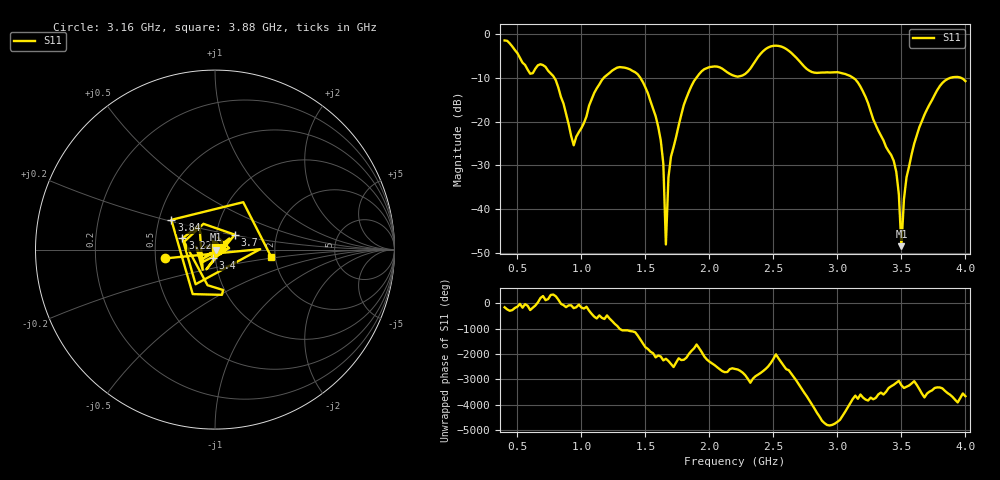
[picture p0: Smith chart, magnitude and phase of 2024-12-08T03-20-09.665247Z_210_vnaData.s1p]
!Created with skrf (http://scikit-rf.org).
# Hz S RI R 50.0
!freq ReS11 ImS11
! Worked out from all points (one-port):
!   181 points, 400 MHz to 4 GHz, reference 50 ohm
!   lowest |S11| = -48.5 dB at 3.5 GHz (marker M1), VSWR 1.01, Z = 50.4 + j0.0346 ohm
!   |S11| at or under -10 dB: 789.2 MHz to 1.174 GHz (384.6 MHz wide, 39.2 % of centre); 1.461 GHz to 1.897 GHz (435.9 MHz wide, 26 % of centre); 3.125 GHz to 3.879 GHz (753.9 MHz wide, 21.5 % of centre) (the widest 3 of 4)
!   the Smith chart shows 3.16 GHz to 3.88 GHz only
!   S11 on the Smith chart (normalised r, x): 3.16 GHz: 0.56, -0.06; 3.22 GHz: 0.69, +0.09; 3.4 GHz: 0.97, -0.09; 3.7 GHz: 1.23, +0.21; 3.84 GHz: 0.58, +0.21; 3.88 GHz: 1.90, -0.18
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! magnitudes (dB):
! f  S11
! 400 MHz  -1.4
! 720 MHz  -7.5
! 860 MHz  -15.8
! 940 MHz  -25.4
! 1.12 GHz  -12.4
! 1.3 GHz  -7.5
! 1.46 GHz  -9.9
! 1.58 GHz  -18.7
! 1.64 GHz  -29.6
! 1.66 GHz  -48.1
! 1.68 GHz  -32.7
! 1.76 GHz  -20.9
! 1.94 GHz  -8.5
! 2.2 GHz  -9.6
! 2.48 GHz  -2.8
! 2.66 GHz  -4.8
! 3.1 GHz  -9.5
! 3.16 GHz  -11.0
! 3.22 GHz  -14.3
! 3.4 GHz  -26.8
! 3.46 GHz  -31.5
! 3.5 GHz  -48.5
! 3.52 GHz  -37.7
! 3.56 GHz  -30.2
! 3.7 GHz  -17.2
! 3.84 GHz  -10.6
! 3.88 GHz  -10.0
! 4 GHz  -10.7
